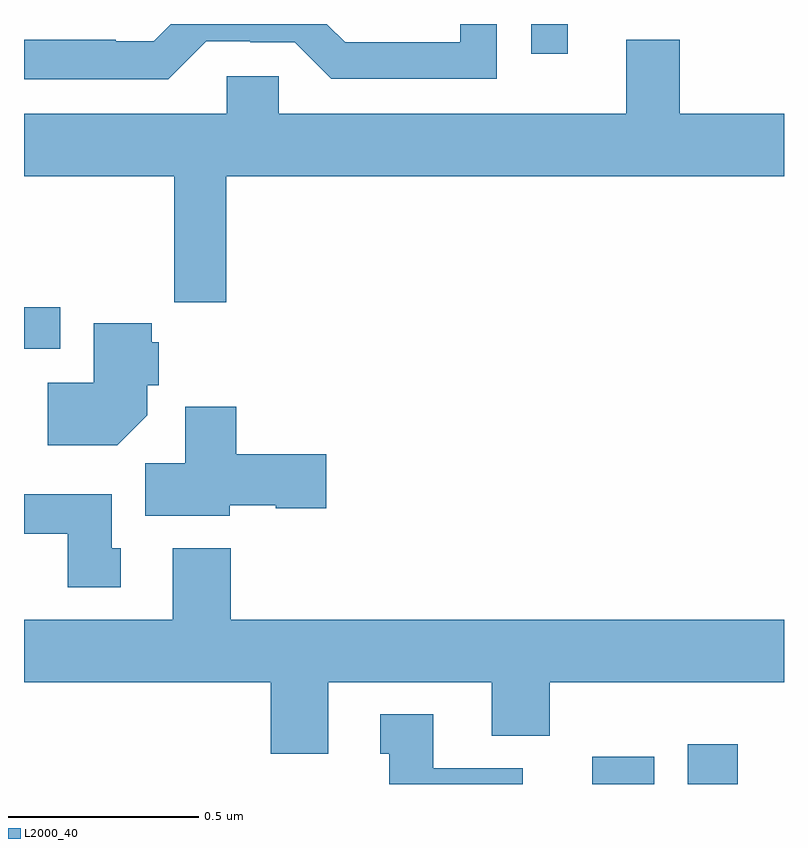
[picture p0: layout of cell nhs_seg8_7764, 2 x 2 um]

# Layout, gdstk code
import gdstk
lib = gdstk.Library(unit=1e-6, precision=1e-09)
def R(c, l, rs):  # rectangles x0, y0, x1, y1
    for r in rs: c.add(gdstk.rectangle(r[:2], r[2:], *l))
def P(c, l, *ps):  # polygons
    for p in ps: c.add(gdstk.Polygon(p, *l))
L2000_40 = (2000, 40)

nhs_seg8_7764 = lib.new_cell('nhs_seg8_7764')
R(nhs_seg8_7764, L2000_40, [(215.495,1114.9,215.659,1114.972), (215.747,1114.9,215.878,1115.005), (214,1116.045,214.096,1116.154), (215.335,1116.822,215.431,1116.9)])
P(nhs_seg8_7764, L2000_40, [(214.479,1116.855),(214.595,1116.855),(214.595,1116.852),(214.713,1116.852),(214.809,1116.756),(215.244,1116.756),(215.244,1116.9),(215.148,1116.9),(215.148,1116.852),(214.845,1116.852),(214.797,1116.9),(214.386,1116.9),(214.341,1116.855),(214.241,1116.855),(214.241,1116.859),(214,1116.859),(214,1116.755),(214.379,1116.755)],
  [(214.532,1116.5),(216,1116.5),(216,1116.664),(215.725,1116.664),(215.725,1116.859),(215.585,1116.859),(215.585,1116.664),(214.671,1116.664),(214.671,1116.762),(214.533,1116.762),(214.533,1116.664),(214,1116.664),(214,1116.5),(214.396,1116.5),(214.396,1116.168),(214.532,1116.168)],
  [(214.324,1115.87),(214.324,1115.949),(214.355,1115.949),(214.355,1116.063),(214.336,1116.063),(214.336,1116.113),(214.184,1116.113),(214.184,1115.956),(214.063,1115.956),(214.063,1115.792),(214.246,1115.792)],
  [(214.542,1115.633),(214.662,1115.633),(214.662,1115.626),(214.795,1115.626),(214.795,1115.768),(214.559,1115.768),(214.559,1115.893),(214.424,1115.893),(214.424,1115.744),(214.319,1115.744),(214.319,1115.606),(214.542,1115.606)],
  [(214.255,1115.52),(214.231,1115.52),(214.231,1115.662),(214,1115.662),(214,1115.558),(214.115,1115.558),(214.115,1115.418),(214.255,1115.418)],
  [(214.801,1115.168),(215.231,1115.168),(215.231,1115.027),(215.384,1115.027),(215.384,1115.168),(216,1115.168),(216,1115.332),(214.544,1115.332),(214.544,1115.521),(214.391,1115.521),(214.391,1115.332),(214,1115.332),(214,1115.168),(214.649,1115.168),(214.649,1114.979),(214.801,1114.979)],
  [(215.312,1114.942),(215.077,1114.942),(215.077,1115.083),(214.937,1115.083),(214.937,1114.98),(214.961,1114.98),(214.961,1114.9),(215.312,1114.9)])

lib.write_gds('nhs_seg8_7764.gds')
